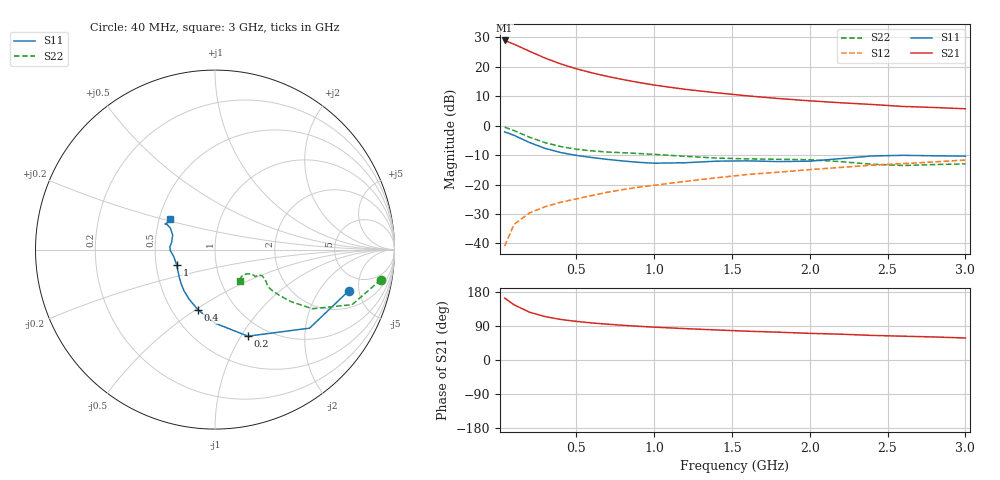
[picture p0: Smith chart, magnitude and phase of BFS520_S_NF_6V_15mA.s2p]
! Filename:  BFS520J.S2P  Version:  4.0
! Philips part #: BFS520  Date: Jun 1994
! Bias condition: Vce=6V, Ic=15mA
#  MHz  S  MA  R  50
! Freq  S11  S21  S12  S22  !GUM [dB]
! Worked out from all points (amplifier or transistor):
!   21 points, 40 MHz to 3 GHz, reference 50 ohm
!   highest |S21| = 28.9 dB at 40 MHz (marker M1)
!   |S21| within 3 dB of that: start of sweep to 172.3 MHz
!   unconditionally stable (mu >= 1): 792.7 MHz to end of sweep
!   at 300 MHz: K = 0.71, MSG = 25.2 dB, |S12| = -27.5 dB
!   at 1 GHz: K = 1.06, MAG = 15.5 dB, |S12| = -20.3 dB
!   at 3 GHz: K = 1.06, MAG = 7.3 dB, |S12| = -11.7 dB
!   lowest NFmin = 1.30 dB at 500 MHz
!   S11 on the Smith chart (normalised r, x): 40 MHz: 3.36, -3.93; 200 MHz: 0.82, -1.07; 400 MHz: 0.67, -0.51; 1 GHz: 0.64, -0.12; 3 GHz: 0.57, +0.22
40  0.781 -17.0  27.78 163.5  0.009 81.3  0.939 -10.3
100  0.685 -39.7  24.05 145.8  0.021 70.7  0.823 -21.9
200  0.516 -69.2  18.2 126.1  0.033 63.5  0.634 -31.3
300  0.41 -89.9  13.96 114.5  0.042 62.3  0.513 -34.4
400  0.349 -105.7  11.12 107.0  0.05 63.3  0.441 -35.4
500  0.312 -117.4  9.205 101.9  0.057 64.9  0.397 -35.6
600  0.287 -127.0  7.841 97.8  0.065 66.2  0.372 -35.3
700  0.267 -135.2  6.821 94.5  0.074 67.5  0.356 -34.6
800  0.251 -142.7  6.025 91.6  0.082 68.7  0.346 -33.4
900  0.238 -150.3  5.396 89.0  0.09 69.4  0.336 -32.1
1000  0.23 -157.9  4.874 86.7  0.097 70.1  0.325 -30.8
1200  0.234 -171.1  4.115 82.8  0.113 70.9  0.301 -29.1
1400  0.249 -178.6  3.601 79.3  0.13 71.7  0.281 -30.1
1600  0.252 176.6  3.191 76.0  0.148 71.3  0.272 -33.1
1800  0.245 170.7  2.874 73.4  0.162 71.8  0.268 -34.0
2000  0.249 161.2  2.629 70.3  0.179 71.6  0.263 -33.5
2200  0.275 154.4  2.436 68.1  0.195 71.6  0.244 -33.8
2400  0.305 152.1  2.279 64.9  0.213 71.2  0.221 -37.8
2600  0.313 153.0  2.108 62.8  0.226 70.3  0.21 -45.2
2800  0.307 151.3  2.027 60.8  0.242 70.5  0.218 -50.4
3000  0.303 145.6  1.926 58.0  0.26 69.8  0.224 -52.0
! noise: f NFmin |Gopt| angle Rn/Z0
500  1.3  0.192  26  0.23
900  1.45  0.158  56  0.23
2000  2.05  0.202  175  0.18
